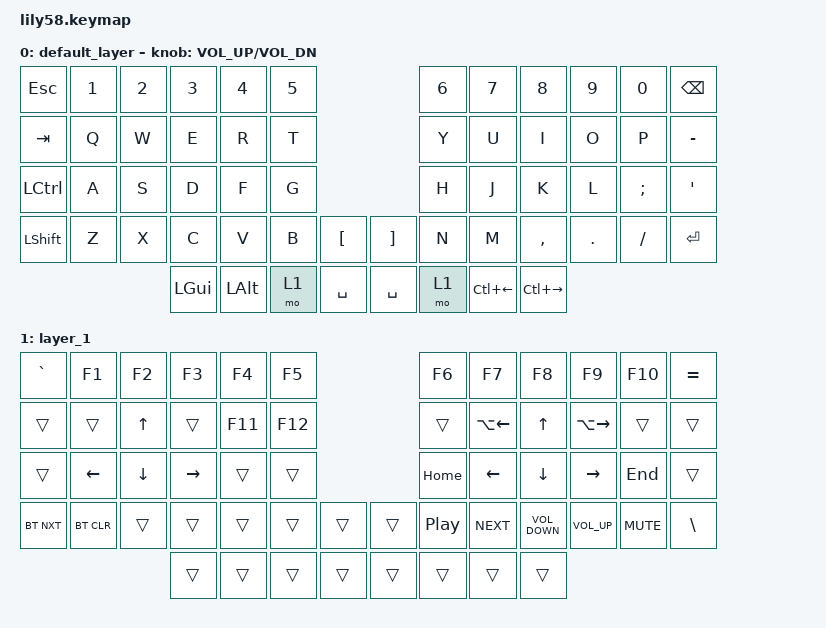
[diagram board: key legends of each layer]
/*
 * Copyright (c) 2020 The ZMK Contributors
 *
 * SPDX-License-Identifier: MIT
 */

#include <dt-bindings/zmk/bt.h>
#include <dt-bindings/zmk/ext_power.h>

#include <behaviors.dtsi>
#include <dt-bindings/zmk/keys.h>

/ {
    keymap {
        compatible = "zmk,keymap";

        default_layer {
            bindings = <
&kp ESC    &kp N1  &kp N2  &kp N3    &kp N4    &kp N5                          &kp N6  &kp N7              &kp N8         &kp N9   &kp N0    &kp BACKSPACE
&kp TAB    &kp Q   &kp W   &kp E     &kp R     &kp T                           &kp Y   &kp U               &kp I          &kp O    &kp P     &kp MINUS
&kp LCTRL  &kp A   &kp S   &kp D     &kp F     &kp G                           &kp H   &kp J               &kp K          &kp L    &kp SEMI  &kp APOSTROPHE
&kp LSHFT  &kp Z   &kp X   &kp C     &kp V     &kp B   &kp LBKT     &kp RBKT   &kp N   &kp M               &kp COMMA      &kp DOT  &kp FSLH  &kp ENTER
                           &kp LGUI  &kp LALT  &mo 1   &kp SPACE    &kp SPACE  &mo 1   &kp LC(LEFT_ARROW)  &kp LC(RIGHT)
            >;

            sensor-bindings = <&inc_dec_kp C_VOL_UP C_VOL_DN>;
        };

        layer_1 {
            bindings = <
&kp GRAVE   &kp F1      &kp F2        &kp F3     &kp F4   &kp F5                     &kp F6            &kp F7          &kp F8             &kp F9           &kp F10     &kp EQUAL
&trans      &trans      &kp UP_ARROW  &trans     &kp F11  &kp F12                    &trans            &kp LA(LEFT)    &kp UP_ARROW       &kp LA(RIGHT)    &trans      &trans
&trans      &kp LEFT    &kp DOWN      &kp RIGHT  &trans   &trans                     &kp HOME          &kp LEFT_ARROW  &kp DOWN           &kp RIGHT        &kp END     &trans
&bt BT_NXT  &bt BT_CLR  &trans        &trans     &trans   &trans   &trans    &trans  &kp C_PLAY_PAUSE  &kp C_NEXT      &kp C_VOLUME_DOWN  &kp C_VOLUME_UP  &kp K_MUTE  &kp BACKSLASH
                                      &trans     &trans   &trans   &trans    &trans  &trans            &trans          &trans
            >;
        };
    };
};
